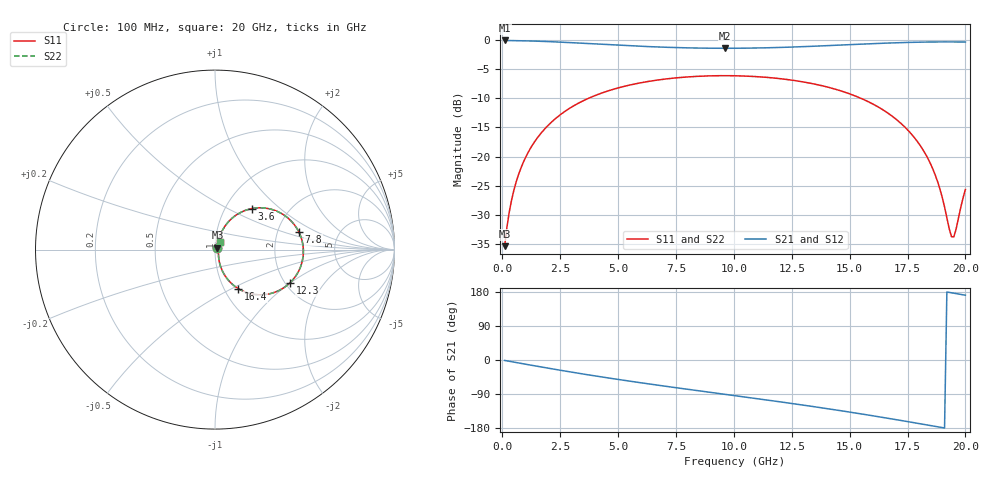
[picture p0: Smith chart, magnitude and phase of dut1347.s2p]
! Touchstone file exported from HFSS 2026.1.0
!  File:  C:/ffzhzh/LocalFiles/Ansys_Project_Files/temp_train_TSV_RDL_1347_1783340175_39728.aedt
!  Generated:  08:28:34 PM Jul  6, 2026
!  Design:  TSV_RDL
!  Project:  temp_train_TSV_RDL_1347_1783340175_39728
! Variables:
!  h_bsmrdl = 4.55um
!  h_ox = 20um
!  h_rdl = 5um
!  h_sub = 99.45um
!  h_tmrdl = 5.49um
!  h_tsv = 99.45um
!  h_via = 3um
!  l_bsmrdl = 165.26um
!  l_sub = 2959.79um
!  l_tmrdl = 476.68um
!  m_sub = 200um
!  pitch = 51.82um
!  r_tsv = 3.34um
!  s_tmrdl = 10um
!  w_bsmrdl = 22.82um
!  w_sub = 500um
!  w_tmrdl = 29.61um
!  x_tsv_center1 = 491.485um
!  x_tsv_center2 = 679.565um
!  x_tsv_center3 = 1185.855um
!  x_tsv_center4 = 1373.935um
!  x_tsv_center5 = 1880.225um
!  x_tsv_center6 = 2068.305um
# GHz S MA R 50.000000
! Terminal data exported
! Port[1] = TM_RDL1_1_T1
! Port[2] = TM_RDL5_1_T1
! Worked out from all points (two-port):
!   200 points, 100 MHz to 20 GHz, reference 50 ohm
!   highest |S21| = -0.12 dB at 100 MHz (marker M1); lowest = -1.5 dB at 9.6 GHz (marker M2)
!   |S21| within 3 dB of the highest: start of sweep to end of sweep
!   lowest |S11| = -35.3 dB at 100 MHz (marker M3), VSWR 1.03, Z = 51.4 + j1.05 ohm
!   |S11| at or under -10 dB: start of sweep to 3.738 GHz; 15.47 GHz to end of sweep
!   |S22| runs from -35.3 to -6.1 dB; largest |S21 - S12| = 2.7e-14
!   S11 on the Smith chart (normalised r, x): 100 MHz: 1.03, +0.02; 3.6 GHz: 1.33, +0.67; 7.8 GHz: 2.63, +0.67; 12.3 GHz: 2.12, -0.99; 16.4 GHz: 1.16, -0.54; 20 GHz: 1.05, +0.09
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0.1  0.01708 36.7  0.9865 -1.2  0.9865 -1.2  0.01708 36.7
! Gamma 0 0 0 0
! Port Impedance 50 0 50 0
0.3  0.0334 60.9  0.985 -3.4  0.985 -3.4  0.0334 60.9
0.5  0.05142 67.5  0.9837 -5.6  0.9837 -5.6  0.05142 67.5
1.1  0.107 69.3  0.9783 -12.1  0.9783 -12.1  0.107 69.3
2.1  0.1952 61.9  0.9627 -22.8  0.9627 -22.8  0.1952 61.9
3.5  0.3007 49.0  0.9327 -37.1  0.9327 -37.1  0.3007 49.0
3.6  0.3073 48.0  0.9304 -38.1  0.9304 -38.1  0.3074 48.0
6.8  0.4547 20.1  0.8663 -67.2  0.8663 -67.2  0.4547 20.1
7.8  0.4772 12.0  0.8542 -75.6  0.8542 -75.6  0.4772 12.0
9.6  0.4927 -2.3  0.8454 -90.5  0.8454 -90.5  0.4927 -2.3
10.1  0.4914 -6.3  0.846 -94.6  0.846 -94.6  0.4914 -6.3
12.3  0.4568 -23.9  0.8632 -113.0  0.8632 -113.0  0.4568 -23.9
13.4  0.4208 -33.1  0.8794 -122.6  0.8794 -122.6  0.4208 -33.1
15.1  0.3386 -47.7  0.91 -138.4  0.91 -138.4  0.3386 -47.8
16.4  0.254 -59.1  0.9332 -151.2  0.9332 -151.2  0.254 -59.1
16.7  0.232 -61.6  0.938 -154.2  0.938 -154.2  0.232 -61.6
17.7  0.1533 -69.2  0.9509 -164.6  0.9509 -164.6  0.1533 -69.2
18.4  0.09464 -71.7  0.9565 -172.0  0.9565 -172.0  0.09462 -71.7
18.9  0.05274 -66.7  0.9584 -177.3  0.9584 -177.3  0.05271 -66.8
19.4  0.0206 -17.2  0.9585 177.4  0.9585 177.4  0.02055 -17.2
19.5  0.02053 6.6  0.9583 176.3  0.9583 176.3  0.02049 6.6
20  0.05228 56.8  0.9562 171.0  0.9562 171.0  0.05227 56.9
